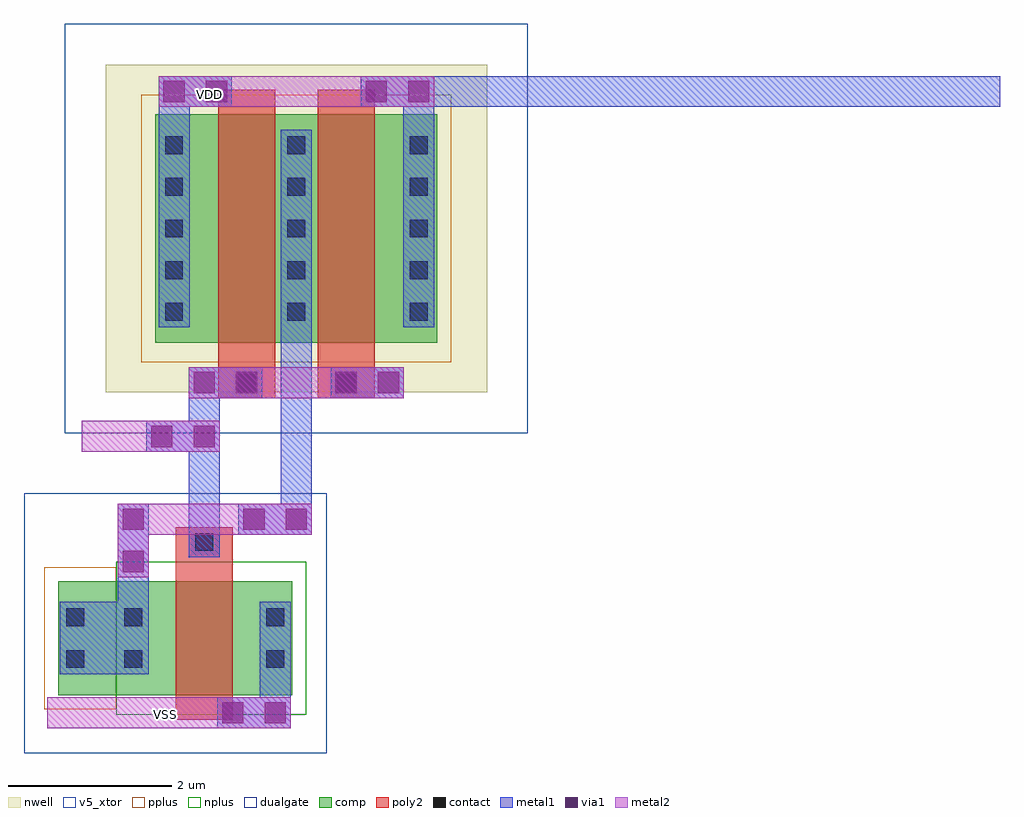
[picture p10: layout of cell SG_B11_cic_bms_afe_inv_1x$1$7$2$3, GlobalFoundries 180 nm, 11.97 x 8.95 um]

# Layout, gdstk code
from math import pi, radians
import gdstk
lib = gdstk.Library(unit=1e-6, precision=5e-09)
def R(c, l, rs):  # rectangles x0, y0, x1, y1
    for r in rs: c.add(gdstk.rectangle(r[:2], r[2:], *l))
def A(c, l, x, y, w, h, nx, ny, dx, dy):  # array of equal rectangles
    R(c, l, [(x+i*dx, y+j*dy, x+i*dx+w, y+j*dy+h) for i in range(nx) for j in range(ny)])
nwell = (21, 0)
comp = (22, 0)
poly2 = (30, 0)
pplus = (31, 0)
nplus = (32, 0)
contact = (33, 0)
metal1 = (34, 0)
via1 = (35, 0)
metal2 = (36, 0)
dualgate = (55, 0)
v5_xtor = (112, 1)

pfet_2_7 = lib.new_cell('pfet$2$7')
R(pfet_2_7, nwell, [(-1.07,-0.61,3.61,3.41)])
R(pfet_2_7, comp, [(-0.46,0,0,2.8), (0,0,2.54,2.8), (2.54,0,3,2.8)])
R(pfet_2_7, poly2, [(0.31,-0.68,1.01,-0.3), (1.53,-0.68,2.23,-0.3), (0.31,-0.3,1.01,3.1), (1.53,-0.3,2.23,3.1)])
R(pfet_2_7, pplus, [(-0.63,-0.24,3.17,3.04)])
A(pfet_2_7, contact, -0.34, 0.27, 0.22, 0.22, 3, 5, 1.5, 0.51)
R(pfet_2_7, contact, [(0.55,-0.6,0.77,-0.38), (1.77,-0.6,1.99,-0.38)])
A(pfet_2_7, metal1, -0.42, 0.19, 0.38, 2.42, 3, 1, 1.5, 0)
R(pfet_2_7, metal1, [(0.47,-0.68,0.85,-0.3), (1.69,-0.68,2.07,-0.3)])
R(pfet_2_7, dualgate, [(-1.57,-1.11,4.11,3.91), (-0.88,-1.09,3.42,3.51)])
R(pfet_2_7, v5_xtor, [(-1.57,-1.11,4.11,3.91), (-0.88,-1.09,3.42,3.51)])

nfet_1 = lib.new_cell('nfet$1')
R(nfet_1, comp, [(-0.42,0,0,1.4), (0,0,1.32,1.4), (1.32,0,1.74,1.4), (1.74,0,2.45,1.4)])
R(nfet_1, poly2, [(0.31,-0.3,1.01,1.7), (0.31,1.7,1.01,2.06)])
R(nfet_1, pplus, [(1.74,-0.17,2.62,1.57)])
R(nfet_1, nplus, [(-0.59,-0.24,1.74,1.64)])
R(nfet_1, contact, [(-0.32,0.335,-0.1,0.555), (1.42,0.335,1.64,0.555), (2.13,0.335,2.35,0.555), (-0.32,0.845,-0.1,1.065), (1.42,0.845,1.64,1.065), (2.13,0.845,2.35,1.065), (0.55,1.77,0.77,1.99)])
R(nfet_1, metal1, [(-0.4,0.255,-0.02,1.145), (1.34,0.255,1.72,1.145), (2.05,0.255,2.43,1.145), (0.47,1.69,0.85,2.07)])
R(nfet_1, dualgate, [(-0.84,-0.71,2.87,2.48)])
R(nfet_1, v5_xtor, [(-0.84,-0.71,2.87,2.48)])

sg_b11_cic_bms_afe_inv_1 = lib.new_cell('SG_B11_cic_bms_afe_inv_1x$1$7$2$3')
R(sg_b11_cic_bms_afe_inv_1, metal1, [(1.51,0,2.41,0.38), (-0.42,0.66,0.67,1.55), (0.29,1.855,0.67,2.755), (1.77,2.375,2.67,2.755), (0.64,3.39,1.54,3.77), (1.16,4.05,2.06,4.43), (2.9,4.05,3.8,4.43), (0.79,7.62,1.69,8), (3.27,7.62,11.11,8)])
R(sg_b11_cic_bms_afe_inv_1, via1, [(1.57,0.06,1.83,0.32), (2.09,0.06,2.35,0.32), (0.35,1.915,0.61,2.175), (0.35,2.435,0.61,2.695), (1.83,2.435,2.09,2.695), (2.35,2.435,2.61,2.695), (0.7,3.45,0.96,3.71), (1.22,3.45,1.48,3.71), (1.22,4.11,1.48,4.37), (1.74,4.11,2,4.37), (2.96,4.11,3.22,4.37), (3.48,4.11,3.74,4.37), (0.85,7.68,1.11,7.94), (1.37,7.68,1.63,7.94), (3.33,7.68,3.59,7.94), (3.85,7.68,4.11,7.94)])
R(sg_b11_cic_bms_afe_inv_1, metal2, [(1.51,0,2.41,0.38), (0.29,1.855,0.67,2.755), (1.77,2.375,2.67,2.755), (0.64,3.39,1.54,3.77), (1.16,4.05,2.06,4.43), (2.9,4.05,3.8,4.43), (0.79,7.62,1.69,8), (3.27,7.62,4.17,8)])
sg_b11_cic_bms_afe_inv_1.add(gdstk.FlexPath([(0.98,4.92),(0.98,8)], 0.38, ends="flush", simple_path=True, layer=34, datatype=0))  # metal1
sg_b11_cic_bms_afe_inv_1.add(gdstk.FlexPath([(3.98,4.92),(3.98,8)], 0.38, ends="flush", simple_path=True, layer=34, datatype=0))  # metal1
sg_b11_cic_bms_afe_inv_1.add(gdstk.FlexPath([(1.35,2.095),(1.35,4.43)], 0.38, ends="flush", simple_path=True, layer=34, datatype=0))  # metal1
sg_b11_cic_bms_afe_inv_1.add(gdstk.FlexPath([(2.22,1.55),(2.22,0)], 0.38, ends="flush", simple_path=True, layer=34, datatype=0))  # metal1
sg_b11_cic_bms_afe_inv_1.add(gdstk.FlexPath([(0.48,0.66),(0.48,2.755)], 0.38, ends="flush", simple_path=True, layer=34, datatype=0))  # metal1
sg_b11_cic_bms_afe_inv_1.add(gdstk.FlexPath([(2.48,7.34),(2.48,2.375)], 0.38, ends="flush", simple_path=True, layer=34, datatype=0))  # metal1
sg_b11_cic_bms_afe_inv_1.add(gdstk.FlexPath([(2.41,0.19),(-0.575,0.19)], 0.38, ends="flush", simple_path=True, layer=36, datatype=0))  # metal2
sg_b11_cic_bms_afe_inv_1.add(gdstk.FlexPath([(4.17,7.81),(0.79,7.81)], 0.38, ends="flush", simple_path=True, layer=36, datatype=0))  # metal2
sg_b11_cic_bms_afe_inv_1.add(gdstk.FlexPath([(1.68,4.24),(3.28,4.24)], 0.38, ends="flush", simple_path=True, layer=36, datatype=0))  # metal2
sg_b11_cic_bms_afe_inv_1.add(gdstk.FlexPath([(0.29,2.565),(2.61,2.565)], 0.38, ends="flush", simple_path=True, layer=36, datatype=0))  # metal2
sg_b11_cic_bms_afe_inv_1.add(gdstk.FlexPath([(-0.15,3.58),(1.54,3.58)], 0.38, ends="flush", simple_path=True, layer=36, datatype=0))  # metal2
sg_b11_cic_bms_afe_inv_1.add(gdstk.Reference(pfet_2_7, (3.75,4.73), rotation=pi, x_reflection=True))
sg_b11_cic_bms_afe_inv_1.add(gdstk.Reference(nfet_1, (2.01,0.405), rotation=pi, x_reflection=True))
sg_b11_cic_bms_afe_inv_1.add(gdstk.Label('VSS', (0.875,0.165), layer=34, texttype=10))
sg_b11_cic_bms_afe_inv_1.add(gdstk.Label('VDD', (1.41,7.77), layer=34, texttype=10))

lib.write_gds('SG_B11_cic_bms_afe_inv_1x_1_7_2_3.gds')
